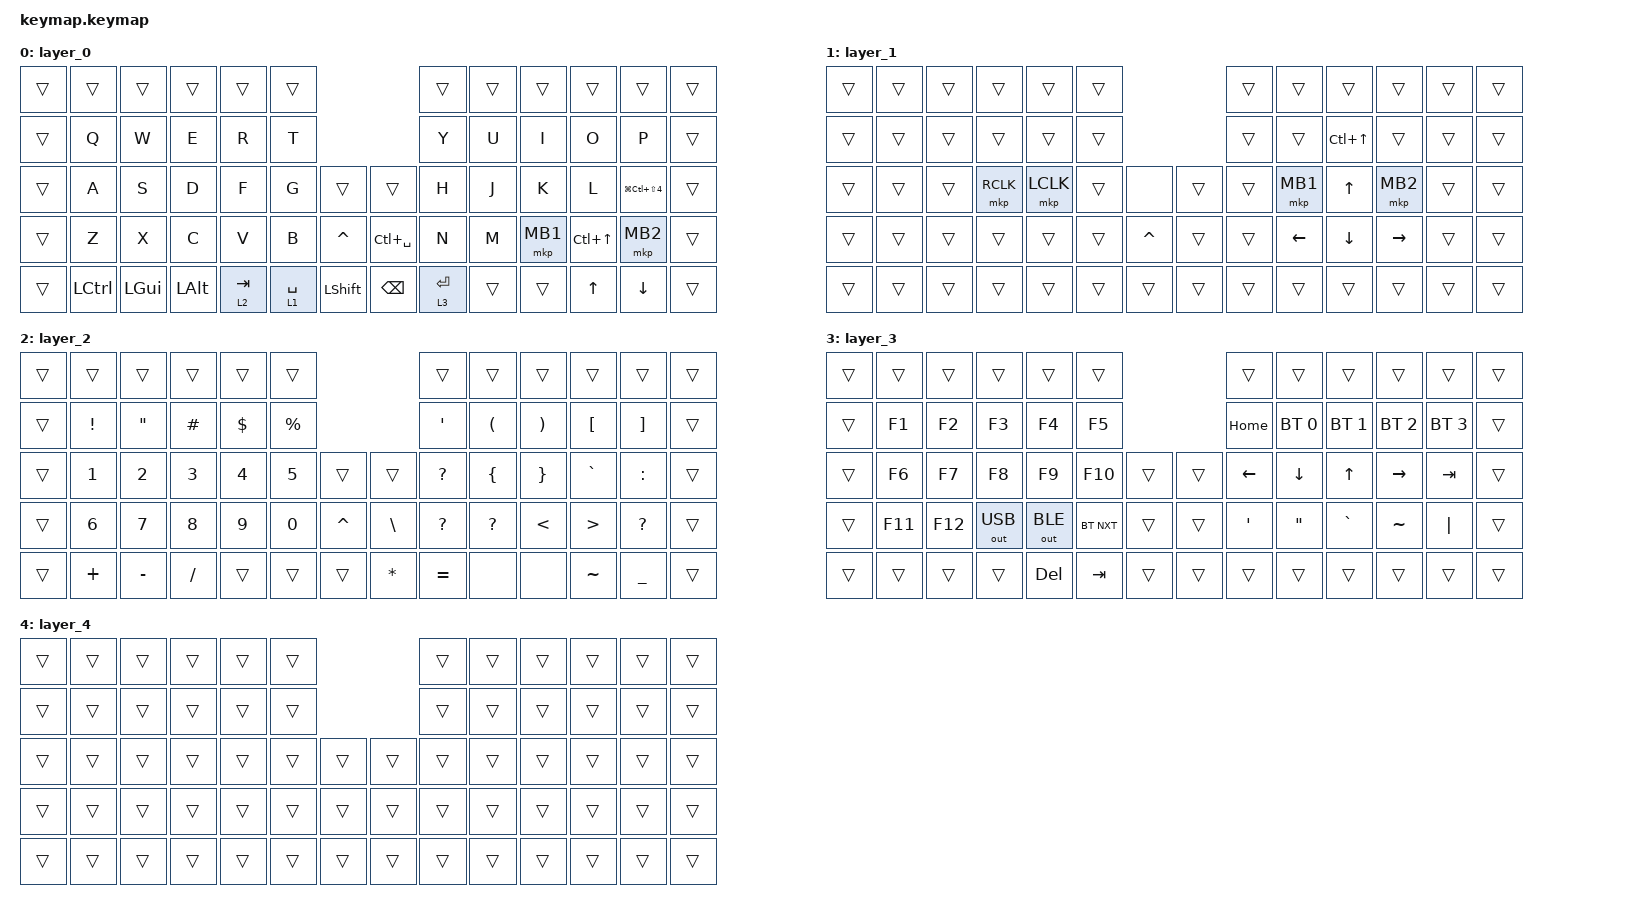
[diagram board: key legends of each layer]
#include <dt-bindings/zmk/mouse.h>
#include <behaviors.dtsi>
#include <dt-bindings/zmk/bt.h>
#include <dt-bindings/zmk/keys.h>
#include <dt-bindings/zmk/outputs.h>
#include <dt-bindings/zmk/pointing.h>

// OS設定を日本語キーボードのまま使用するための変換定義

#define JP_DQUOTE       AT                // "
#define JP_AMPERSAND    CARET             // &
#define JP_QUOTE        AMPERSAND         // '
#define JP_EQUAL        UNDER             // =
#define JP_CARET        EQUAL             // ^
#define JP_YEN          0x89              // ¥
#define JP_PLUS         COLON             // +
#define JP_TILDE        PLUS              // ~
#define JP_PIPE         LS(0x89)          // |
#define JP_AT           LEFT_BRACKET      // @
#define JP_COLON        SINGLE_QUOTE      // :
#define JP_ASTERISK     DOUBLE_QUOTES     // *
#define JP_BACKQUOTE    LEFT_BRACE        // `
#define JP_UNDERSCORE   LS(0x87)          // _
#define JP_LBRACKET     RIGHT_BRACKET     // [
#define JP_RBRACKET     BACKSLASH         // ]
#define JP_LPAREN       ASTERISK          // (
#define JP_RPAREN       LEFT_PARENTHESIS  // )
#define JP_LBRACE       RIGHT_BRACE       // {
#define JP_RBRACE       PIPE              // }
#define JP_KANA         LANGUAGE_1        // かな
#define JP_EISU         LANGUAGE_2        // 英数
#define JP_HANZEN       GRAVE             // 半角/全角

/ {
    combos {
        compatible = "zmk,combos";

        bt_clear {
            bindings = <&bt BT_CLR>;
            key-positions = <28 29>;
            layers = <2>;
        };
    };

    macros {
        mission_control: mission_control {
            compatible = "zmk,behavior-macro";
            #binding-cells = <0>;
            bindings = <&none>;
            label = "MISSION_CONTROL";
        };
    };

    keymap {
        compatible = "zmk,keymap";

        layer_0 {
            bindings = <
&trans  &trans     &trans    &trans    &trans     &trans                                      &trans       &trans  &trans    &trans            &trans                    &trans
&trans  &kp Q      &kp W     &kp E     &kp R      &kp T                                       &kp Y        &kp U   &kp I     &kp O             &kp P                     &trans
&trans  &kp A      &kp S     &kp D     &kp F      &kp G        &trans          &trans         &kp H        &kp J   &kp K     &kp L             &kp LG(LC(LS(NUMBER_4)))  &trans
&trans  &kp Z      &kp X     &kp C     &kp V      &kp B        &kp CARET       &kp LC(SPACE)  &kp N        &kp M   &mkp MB1  &kp LC(UP_ARROW)  &mkp MB2                  &trans
&trans  &kp LCTRL  &kp LGUI  &kp LALT  &lt 2 TAB  &lt 1 SPACE  &kp LEFT_SHIFT  &kp BACKSPACE  &lt 3 ENTER  &trans  &trans    &kp UP            &kp DOWN                  &trans
            >;
        };

        layer_1 {
            bindings = <
&trans  &trans  &trans  &trans     &trans     &trans                     &trans  &trans    &trans      &trans     &trans  &trans
&trans  &trans  &trans  &trans     &trans     &trans                     &trans  &trans    &kp LC(UP)  &trans     &trans  &trans
&trans  &trans  &trans  &mkp RCLK  &mkp LCLK  &trans  &none      &trans  &trans  &mkp MB1  &kp UP      &mkp MB2   &trans  &trans
&trans  &trans  &trans  &trans     &trans     &trans  &kp CARET  &trans  &trans  &kp LEFT  &kp DOWN    &kp RIGHT  &trans  &trans
&trans  &trans  &trans  &trans     &trans     &trans  &trans     &trans  &trans  &trans    &trans      &trans     &trans  &trans
            >;
        };

        layer_2 {
            bindings = <
&trans  &trans           &trans             &trans     &trans      &trans                                 &trans            &trans                &trans                 &trans            &trans             &trans
&trans  &kp EXCLAMATION  &kp DOUBLE_QUOTES  &kp HASH   &kp DOLLAR  &kp PERCENT                            &kp SINGLE_QUOTE  &kp LEFT_PARENTHESIS  &kp RIGHT_PARENTHESIS  &kp LEFT_BRACKET  &kp RIGHT_BRACKET  &trans
&trans  &kp N1           &kp N2             &kp N3     &kp N4      &kp N5       &trans     &trans         &kp QUESTION      &kp LEFT_BRACE        &kp RIGHT_BRACE        &kp GRAVE         &kp COLON          &trans
&trans  &kp N6           &kp N7             &kp N8     &kp N9      &kp N0       &kp CARET  &kp BACKSLASH  &kp QUESTION      &kp QUESTION          &kp LESS_THAN          &kp GREATER_THAN  &kp QUESTION       &trans
&trans  &kp PLUS         &kp MINUS          &kp SLASH  &trans      &trans       &trans     &kp ASTERISK   &kp EQUAL         &none                 &none                  &kp TILDE         &kp UNDERSCORE     &trans
            >;
        };

        layer_3 {
            bindings = <
&trans  &trans   &trans   &trans        &trans        &trans                      &trans            &trans        &trans        &trans        &trans        &trans
&trans  &kp F1   &kp F2   &kp F3        &kp F4        &kp F5                      &kp HOME          &bt BT_SEL 0  &bt BT_SEL 1  &bt BT_SEL 2  &bt BT_SEL 3  &trans
&trans  &kp F6   &kp F7   &kp F8        &kp F9        &kp F10     &trans  &trans  &kp LEFT          &kp DOWN      &kp UP_ARROW  &kp RIGHT     &kp TAB       &trans
&trans  &kp F11  &kp F12  &out OUT_USB  &out OUT_BLE  &bt BT_NXT  &trans  &trans  &kp SINGLE_QUOTE  &kp DQT       &kp GRAVE     &kp TILDE     &kp PIPE      &trans
&trans  &trans   &trans   &trans        &kp DELETE    &kp TAB     &trans  &trans  &trans            &trans        &trans        &trans        &trans        &trans
            >;
        };

        layer_4 {
            bindings = <
&trans  &trans  &trans  &trans  &trans  &trans                  &trans  &trans  &trans  &trans  &trans  &trans
&trans  &trans  &trans  &trans  &trans  &trans                  &trans  &trans  &trans  &trans  &trans  &trans
&trans  &trans  &trans  &trans  &trans  &trans  &trans  &trans  &trans  &trans  &trans  &trans  &trans  &trans
&trans  &trans  &trans  &trans  &trans  &trans  &trans  &trans  &trans  &trans  &trans  &trans  &trans  &trans
&trans  &trans  &trans  &trans  &trans  &trans  &trans  &trans  &trans  &trans  &trans  &trans  &trans  &trans
            >;
        };
    };
};
